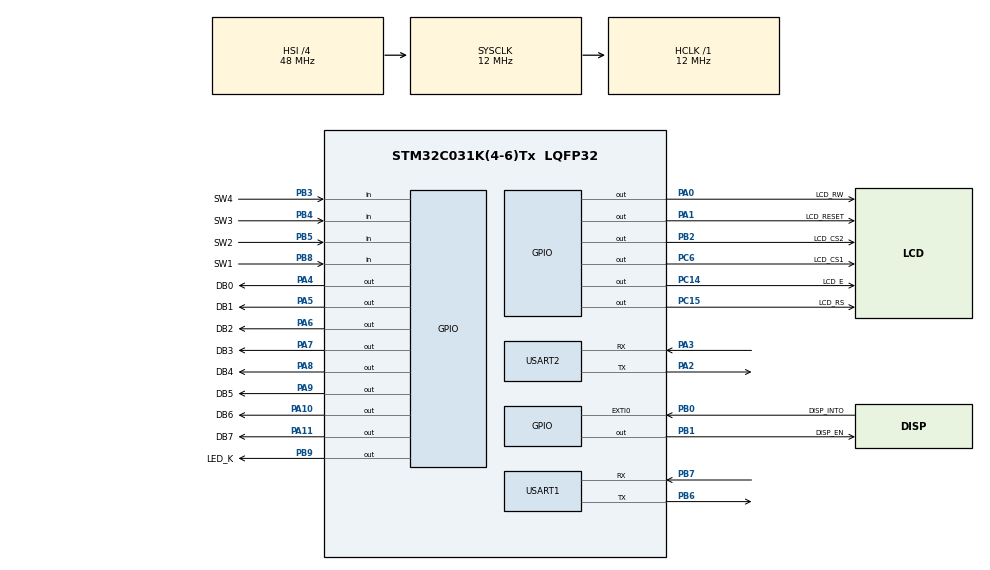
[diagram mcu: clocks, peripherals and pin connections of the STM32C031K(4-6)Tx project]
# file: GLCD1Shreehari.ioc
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Mcu.Family=STM32C0
Mcu.Name=STM32C031K(4-6)Tx
Mcu.Package=LQFP32
NVIC.USART1_IRQn=true\:0\:0\:false\:false\:true\:true\:true\:true
NVIC.USART2_IRQn=true\:0\:0\:false\:false\:true\:true\:true\:true
PA0.GPIO_Label=LCD_RW
PA0.Signal=GPIO_Output
PA1.GPIO_Label=LCD_RESET
PA1.Signal=GPIO_Output
PA10.GPIO_Label=DB6
PA10.Signal=GPIO_Output
PA11\ [PA9].GPIO_Label=DB7
PA11\ [PA9].Signal=GPIO_Output
PA13.Mode=Serial_Wire
PA13.Signal=DEBUG_SWDIO
PA14-BOOT0.Mode=Serial_Wire
PA14-BOOT0.Signal=DEBUG_SWCLK
PA2.Mode=Asynchronous
PA2.Signal=USART2_TX
PA3.Mode=Asynchronous
PA3.Signal=USART2_RX
PA4.GPIO_Label=DB0
PA4.Signal=GPIO_Output
PA5.GPIO_Label=DB1
PA5.Signal=GPIO_Output
PA6.GPIO_Label=DB2
PA6.Signal=GPIO_Output
PA7.GPIO_Label=DB3
PA7.Signal=GPIO_Output
PA8.GPIO_Label=DB4
PA8.Signal=GPIO_Output
PA9.GPIO_Label=DB5
PA9.Signal=GPIO_Output
PB0.GPIO_Label=DISP_INTO
PB0.Signal=GPXTI0
PB1.GPIO_Label=DISP_EN
PB1.Signal=GPIO_Output
PB2.GPIO_Label=LCD_CS2
PB2.Signal=GPIO_Output
PB3.GPIO_Label=SW4
PB3.Signal=GPIO_Input
PB4.GPIO_Label=SW3
PB4.Signal=GPIO_Input
PB5.GPIO_Label=SW2
PB5.Signal=GPIO_Input
PB6.Mode=Asynchronous
PB6.Signal=USART1_TX
PB7.Mode=Asynchronous
PB7.Signal=USART1_RX
PB8.GPIO_Label=SW1
PB8.Signal=GPIO_Input
PB9.GPIO_Label=LED_K
PB9.Signal=GPIO_Output
PC14-OSCX_IN\ (PC14).GPIO_Label=LCD_E
PC14-OSCX_IN\ (PC14).Signal=GPIO_Output
PC15-OSCX_OUT\ (PC15).GPIO_Label=LCD_RS
PC15-OSCX_OUT\ (PC15).Signal=GPIO_Output
PC6.GPIO_Label=LCD_CS1
PC6.Signal=GPIO_Output
ProjectManager.HeapSize=0x200
ProjectManager.StackSize=0x400
ProjectManager.TargetToolchain=STM32CubeIDE
RCC.ADCFreq_Value=12000000
RCC.AHBFreq_Value=12000000
RCC.CortexFreq_Value=12000000
RCC.EXTERNAL_CLOCK_VALUE=12288000
RCC.HCLKFreq_Value=12000000
RCC.HSE_VALUE=8000000
RCC.HSI_VALUE=48000000
RCC.LSE_VALUE=32768
RCC.SYSCLKFreq_VALUE=12000000
USART1.VirtualMode-Asynchronous=VM_ASYNC
USART2.VirtualMode-Asynchronous=VM_ASYNC
board=custom

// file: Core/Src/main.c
/* USER CODE BEGIN Header */
/**
  ******************************************************************************
  * @file           : main.c
  * @brief          : Main program body
  ******************************************************************************
  * @attention
  *
  * Copyright (c) 2024 STMicroelectronics.
  * All rights reserved.
  *
  * This software is licensed under terms that can be found in the LICENSE file
  * in the root directory of this software component.
  * If no LICENSE file comes with this software, it is provided AS-IS.
  *
  ******************************************************************************
  */
/* USER CODE END Header */
#include "main.h"
#include <MATH.H>

UART_HandleTypeDef huart1;
UART_HandleTypeDef huart2;
unsigned char Page;
unsigned char Col;
//unsigned char code font[];
//unsigned char code Character[];

void SystemClock_Config(void);
static void MX_GPIO_Init(void);
static void MX_USART1_UART_Init(void);
static void MX_USART2_UART_Init(void);

/* USER CODE BEGIN 0 */

const uint16_t font[] = {
0x0000, 0x0000, 0x0000, 0x0000, 0x0000, 0x0000, 0x0000, 0x0000, 0x0000, 0x0000,  // sp
0x1000, 0x1000, 0x1000, 0x1000, 0x1000, 0x1000, 0x0000, 0x1000, 0x0000, 0x0000,  // !
0x2800, 0x2800, 0x2800, 0x0000, 0x0000, 0x0000, 0x0000, 0x0000, 0x0000, 0x0000,  // "
0x2400, 0x2400, 0x7C00, 0x2400, 0x4800, 0x7C00, 0x4800, 0x4800, 0x0000, 0x0000,  // #
0x3800, 0x5400, 0x5000, 0x3800, 0x1400, 0x5400, 0x5400, 0x3800, 0x1000, 0x0000,  // $
0x2000, 0x5400, 0x5800, 0x3000, 0x2800, 0x5400, 0x1400, 0x0800, 0x0000, 0x0000,  // %
0x1000, 0x2800, 0x2800, 0x1000, 0x3400, 0x4800, 0x4800, 0x3400, 0x0000, 0x0000,  // &
0x1000, 0x1000, 0x1000, 0x0000, 0x0000, 0x0000, 0x0000, 0x0000, 0x0000, 0x0000,  // '
0x0800, 0x1000, 0x2000, 0x2000, 0x2000, 0x2000, 0x2000, 0x2000, 0x1000, 0x0800,  // (
0x2000, 0x1000, 0x0800, 0x0800, 0x0800, 0x0800, 0x0800, 0x0800, 0x1000, 0x2000,  // )
0x1000, 0x3800, 0x1000, 0x2800, 0x0000, 0x0000, 0x0000, 0x0000, 0x0000, 0x0000,  // *
0x0000, 0x0000, 0x1000, 0x1000, 0x7C00, 0x1000, 0x1000, 0x0000, 0x0000, 0x0000,  // +
0x0000, 0x0000, 0x0000, 0x0000, 0x0000, 0x0000, 0x0000, 0x1000, 0x1000, 0x1000,  // ,
0x0000, 0x0000, 0x0000, 0x0000, 0x0000, 0x3800, 0x0000, 0x0000, 0x0000, 0x0000,  // -
0x0000, 0x0000, 0x0000, 0x0000, 0x0000, 0x0000, 0x0000, 0x1000, 0x0000, 0x0000,  // .
0x0800, 0x0800, 0x1000, 0x1000, 0x1000, 0x1000, 0x2000, 0x2000, 0x0000, 0x0000,  // /
0x3800, 0x4400, 0x4400, 0x5400, 0x4400, 0x4400, 0x4400, 0x3800, 0x0000, 0x0000,  // 0
0x1000, 0x3000, 0x5000, 0x1000, 0x1000, 0x1000, 0x1000, 0x1000, 0x0000, 0x0000,  // 1
0x3800, 0x4400, 0x4400, 0x0400, 0x0800, 0x1000, 0x2000, 0x7C00, 0x0000, 0x0000,  // 2
0x3800, 0x4400, 0x0400, 0x1800, 0x0400, 0x0400, 0x4400, 0x3800, 0x0000, 0x0000,  // 3
0x0800, 0x1800, 0x2800, 0x2800, 0x4800, 0x7C00, 0x0800, 0x0800, 0x0000, 0x0000,  // 4
0x7C00, 0x4000, 0x4000, 0x7800, 0x0400, 0x0400, 0x4400, 0x3800, 0x0000, 0x0000,  // 5
0x3800, 0x4400, 0x4000, 0x7800, 0x4400, 0x4400, 0x4400, 0x3800, 0x0000, 0x0000,  // 6
0x7C00, 0x0400, 0x0800, 0x1000, 0x1000, 0x2000, 0x2000, 0x2000, 0x0000, 0x0000,  // 7
0x3800, 0x4400, 0x4400, 0x3800, 0x4400, 0x4400, 0x4400, 0x3800, 0x0000, 0x0000,  // 8
0x3800, 0x4400, 0x4400, 0x4400, 0x3C00, 0x0400, 0x4400, 0x3800, 0x0000, 0x0000,  // 9
0x0000, 0x0000, 0x1000, 0x0000, 0x0000, 0x0000, 0x0000, 0x1000, 0x0000, 0x0000,  // :
0x0000, 0x0000, 0x0000, 0x1000, 0x0000, 0x0000, 0x0000, 0x1000, 0x1000, 0x1000,  // ;
0x0000, 0x0000, 0x0C00, 0x3000, 0x4000, 0x3000, 0x0C00, 0x0000, 0x0000, 0x0000,  // <
0x0000, 0x0000, 0x0000, 0x7C00, 0x0000, 0x7C00, 0x0000, 0x0000, 0x0000, 0x0000,  // =
0x0000, 0x0000, 0x6000, 0x1800, 0x0400, 0x1800, 0x6000, 0x0000, 0x0000, 0x0000,  // >
0x3800, 0x4400, 0x0400, 0x0800, 0x1000, 0x1000, 0x0000, 0x1000, 0x0000, 0x0000,  // ?
0x3800, 0x4400, 0x4C00, 0x5400, 0x5C00, 0x4000, 0x4000, 0x3800, 0x0000, 0x0000,  // @
0x1000, 0x2800, 0x2800, 0x2800, 0x2800, 0x7C00, 0x4400, 0x4400, 0x0000, 0x0000,  // A
0x7800, 0x4400, 0x4400, 0x7800, 0x4400, 0x4400, 0x4400, 0x7800, 0x0000, 0x0000,  // B
0x3800, 0x4400, 0x4000, 0x4000, 0x4000, 0x4000, 0x4400, 0x3800, 0x0000, 0x0000,  // C
0x7000, 0x4800, 0x4400, 0x4400, 0x4400, 0x4400, 0x4800, 0x7000, 0x0000, 0x0000,  // D
0x7C00, 0x4000, 0x4000, 0x7C00, 0x4000, 0x4000, 0x4000, 0x7C00, 0x0000, 0x0000,  // E
0x7C00, 0x4000, 0x4000, 0x7800, 0x4000, 0x4000, 0x4000, 0x4000, 0x0000, 0x0000,  // F
0x3800, 0x4400, 0x4000, 0x4000, 0x5C00, 0x4400, 0x4400, 0x3800, 0x0000, 0x0000,  // G
0x4400, 0x4400, 0x4400, 0x7C00, 0x4400, 0x4400, 0x4400, 0x4400, 0x0000, 0x0000,  // H
0x3800, 0x1000, 0x1000, 0x1000, 0x1000, 0x1000, 0x1000, 0x3800, 0x0000, 0x0000,  // I
0x0400, 0x0400, 0x0400, 0x0400, 0x0400, 0x0400, 0x4400, 0x3800, 0x0000, 0x0000,  // J
0x4400, 0x4800, 0x5000, 0x6000, 0x5000, 0x4800, 0x4800, 0x4400, 0x0000, 0x0000,  // K
0x4000, 0x4000, 0x4000, 0x4000, 0x4000, 0x4000, 0x4000, 0x7C00, 0x0000, 0x0000,  // L
0x4400, 0x6C00, 0x6C00, 0x5400, 0x4400, 0x4400, 0x4400, 0x4400, 0x0000, 0x0000,  // M
0x4400, 0x6400, 0x6400, 0x5400, 0x5400, 0x4C00, 0x4C00, 0x4400, 0x0000, 0x0000,  // N
0x3800, 0x4400, 0x4400, 0x4400, 0x4400, 0x4400, 0x4400, 0x3800, 0x0000, 0x0000,  // O
0x7800, 0x4400, 0x4400, 0x4400, 0x7800, 0x4000, 0x4000, 0x4000, 0x0000, 0x0000,  // P
0x3800, 0x4400, 0x4400, 0x4400, 0x4400, 0x4400, 0x5400, 0x3800, 0x0400, 0x0000,  // Q
0x7800, 0x4400, 0x4400, 0x4400, 0x7800, 0x4800, 0x4800, 0x4400, 0x0000, 0x0000,  // R
0x3800, 0x4400, 0x4000, 0x3000, 0x0800, 0x0400, 0x4400, 0x3800, 0x0000, 0x0000,  // S
0x7C00, 0x1000, 0x1000, 0x1000, 0x1000, 0x1000, 0x1000, 0x1000, 0x0000, 0x0000,  // T
0x4400, 0x4400, 0x4400, 0x4400, 0x4400, 0x4400, 0x4400, 0x3800, 0x0000, 0x0000,  // U
0x4400, 0x4400, 0x4400, 0x2800, 0x2800, 0x2800, 0x1000, 0x1000, 0x0000, 0x0000,  // V
0x4400, 0x4400, 0x5400, 0x5400, 0x5400, 0x6C00, 0x2800, 0x2800, 0x0000, 0x0000,  // W
0x4400, 0x2800, 0x2800, 0x1000, 0x1000, 0x2800, 0x2800, 0x4400, 0x0000, 0x0000,  // X
0x4400, 0x4400, 0x2800, 0x2800, 0x1000, 0x1000, 0x1000, 0x1000, 0x0000, 0x0000,  // Y
0x7C00, 0x0400, 0x0800, 0x1000, 0x1000, 0x2000, 0x4000, 0x7C00, 0x0000, 0x0000,  // Z
0x1800, 0x1000, 0x1000, 0x1000, 0x1000, 0x1000, 0x1000, 0x1000, 0x1000, 0x1800,  // [
0x2000, 0x2000, 0x1000, 0x1000, 0x1000, 0x1000, 0x0800, 0x0800, 0x0000, 0x0000,  /* \ */
0x3000, 0x1000, 0x1000, 0x1000, 0x1000, 0x1000, 0x1000, 0x1000, 0x1000, 0x3000,  // ]
0x1000, 0x2800, 0x2800, 0x4400, 0x0000, 0x0000, 0x0000, 0x0000, 0x0000, 0x0000,  // ^
0x0000, 0x0000, 0x0000, 0x0000, 0x0000, 0x0000, 0x0000, 0x0000, 0x0000, 0xFE00,  // _
0x2000, 0x1000, 0x0000, 0x0000, 0x0000, 0x0000, 0x0000, 0x0000, 0x0000, 0x0000,  // `
0x0000, 0x0000, 0x3800, 0x4400, 0x3C00, 0x4400, 0x4C00, 0x3400, 0x0000, 0x0000,  // a
0x4000, 0x4000, 0x5800, 0x6400, 0x4400, 0x4400, 0x6400, 0x5800, 0x0000, 0x0000,  // b
0x0000, 0x0000, 0x3800, 0x4400, 0x4000, 0x4000, 0x4400, 0x3800, 0x0000, 0x0000,  // c
0x0400, 0x0400, 0x3400, 0x4C00, 0x4400, 0x4400, 0x4C00, 0x3400, 0x0000, 0x0000,  // d
0x0000, 0x0000, 0x3800, 0x4400, 0x7C00, 0x4000, 0x4400, 0x3800, 0x0000, 0x0000,  // e
0x0C00, 0x1000, 0x7C00, 0x1000, 0x1000, 0x1000, 0x1000, 0x1000, 0x0000, 0x0000,  // f
0x0000, 0x0000, 0x3400, 0x4C00, 0x4400, 0x4400, 0x4C00, 0x3400, 0x0400, 0x7800,  // g
0x4000, 0x4000, 0x5800, 0x6400, 0x4400, 0x4400, 0x4400, 0x4400, 0x0000, 0x0000,  // h
0x1000, 0x0000, 0x7000, 0x1000, 0x1000, 0x1000, 0x1000, 0x1000, 0x0000, 0x0000,  // i
0x1000, 0x0000, 0x7000, 0x1000, 0x1000, 0x1000, 0x1000, 0x1000, 0x1000, 0xE000,  // j
0x4000, 0x4000, 0x4800, 0x5000, 0x6000, 0x5000, 0x4800, 0x4400, 0x0000, 0x0000,  // k
0x7000, 0x1000, 0x1000, 0x1000, 0x1000, 0x1000, 0x1000, 0x1000, 0x0000, 0x0000,  // l
0x0000, 0x0000, 0x7800, 0x5400, 0x5400, 0x5400, 0x5400, 0x5400, 0x0000, 0x0000,  // m
0x0000, 0x0000, 0x5800, 0x6400, 0x4400, 0x4400, 0x4400, 0x4400, 0x0000, 0x0000,  // n
0x0000, 0x0000, 0x3800, 0x4400, 0x4400, 0x4400, 0x4400, 0x3800, 0x0000, 0x0000,  // o
0x0000, 0x0000, 0x5800, 0x6400, 0x4400, 0x4400, 0x6400, 0x5800, 0x4000, 0x4000,  // p
0x0000, 0x0000, 0x3400, 0x4C00, 0x4400, 0x4400, 0x4C00, 0x3400, 0x0400, 0x0400,  // q
0x0000, 0x0000, 0x5800, 0x6400, 0x4000, 0x4000, 0x4000, 0x4000, 0x0000, 0x0000,  // r
0x0000, 0x0000, 0x3800, 0x4400, 0x3000, 0x0800, 0x4400, 0x3800, 0x0000, 0x0000,  // s
0x2000, 0x2000, 0x7800, 0x2000, 0x2000, 0x2000, 0x2000, 0x1800, 0x0000, 0x0000,  // t
0x0000, 0x0000, 0x4400, 0x4400, 0x4400, 0x4400, 0x4C00, 0x3400, 0x0000, 0x0000,  // u
0x0000, 0x0000, 0x4400, 0x4400, 0x2800, 0x2800, 0x2800, 0x1000, 0x0000, 0x0000,  // v
0x0000, 0x0000, 0x5400, 0x5400, 0x5400, 0x6C00, 0x2800, 0x2800, 0x0000, 0x0000,  // w
0x0000, 0x0000, 0x4400, 0x2800, 0x1000, 0x1000, 0x2800, 0x4400, 0x0000, 0x0000,  // x
0x0000, 0x0000, 0x4400, 0x4400, 0x2800, 0x2800, 0x1000, 0x1000, 0x1000, 0x6000,  // y
0x0000, 0x0000, 0x7C00, 0x0800, 0x1000, 0x2000, 0x4000, 0x7C00, 0x0000, 0x0000,  // z
0x1800, 0x1000, 0x1000, 0x1000, 0x2000, 0x2000, 0x1000, 0x1000, 0x1000, 0x1800,  // {
0x1000, 0x1000, 0x1000, 0x1000, 0x1000, 0x1000, 0x1000, 0x1000, 0x1000, 0x1000,  // |
0x3000, 0x1000, 0x1000, 0x1000, 0x0800, 0x0800, 0x1000, 0x1000, 0x1000, 0x3000,  // }
0x0000, 0x0000, 0x0000, 0x7400, 0x4C00, 0x0000, 0x0000, 0x0000, 0x0000, 0x0000,  // ~
};

uint8_t ReadDataFromPins(void)
	  {
	      uint8_t RDFP_temp = 0;
	        // Set each pin high individually

	      	HAL_GPIO_WritePin(GPIOA, DB0_Pin, GPIO_PIN_SET);
	        HAL_GPIO_WritePin(GPIOA, DB1_Pin, GPIO_PIN_SET);
	        HAL_GPIO_WritePin(GPIOA, DB2_Pin, GPIO_PIN_SET);
	        HAL_GPIO_WritePin(GPIOA, DB3_Pin, GPIO_PIN_SET);
	        HAL_GPIO_WritePin(GPIOA, DB4_Pin, GPIO_PIN_SET);
	        HAL_GPIO_WritePin(GPIOA, DB5_Pin, GPIO_PIN_SET);
	        HAL_GPIO_WritePin(GPIOA, DB6_Pin, GPIO_PIN_SET);
	        HAL_GPIO_WritePin(GPIOA, DB7_Pin, GPIO_PIN_SET);

	      // Read each pin and combine the result
	      RDFP_temp |= (HAL_GPIO_ReadPin(GPIOA, DB0_Pin) == GPIO_PIN_SET) ? (1 << 0) : 0;
	      RDFP_temp |= (HAL_GPIO_ReadPin(GPIOA, DB1_Pin) == GPIO_PIN_SET) ? (1 << 1) : 0;
	      RDFP_temp |= (HAL_GPIO_ReadPin(GPIOA, DB2_Pin) == GPIO_PIN_SET) ? (1 << 2) : 0;
	      RDFP_temp |= (HAL_GPIO_ReadPin(GPIOA, DB3_Pin) == GPIO_PIN_SET) ? (1 << 3) : 0;
	      RDFP_temp |= (HAL_GPIO_ReadPin(GPIOA, DB4_Pin) == GPIO_PIN_SET) ? (1 << 4) : 0;
	      RDFP_temp |= (HAL_GPIO_ReadPin(GPIOA, DB5_Pin) == GPIO_PIN_SET) ? (1 << 5) : 0;
	      RDFP_temp |= (HAL_GPIO_ReadPin(GPIOA, DB6_Pin) == GPIO_PIN_SET) ? (1 << 6) : 0;
	      RDFP_temp |= (HAL_GPIO_ReadPin(GPIOA, DB7_Pin) == GPIO_PIN_SET) ? (1 << 7) : 0;

	      return RDFP_temp;
	  }

////////////////////////////////////////////////////////////////////////////////////////////
void Printdata(unsigned char data)
{

	if((data&0x01)==0x01)
	{
		HAL_GPIO_WritePin(GPIOA, DB0_Pin, GPIO_PIN_SET);
	}
	else{
		HAL_GPIO_WritePin(GPIOA, DB0_Pin, GPIO_PIN_RESET);
	}

	if((data&0x02)==0x02)
	{
		HAL_GPIO_WritePin(GPIOA, DB1_Pin, GPIO_PIN_SET);
	}
	else{
		HAL_GPIO_WritePin(GPIOA, DB1_Pin, GPIO_PIN_RESET);
	}

	if((data&0x04)==0x04)
	{
		HAL_GPIO_WritePin(GPIOA, DB2_Pin, GPIO_PIN_SET);
	}
	else{HAL_GPIO_WritePin(GPIOA, DB2_Pin, GPIO_PIN_RESET);}

	if((data&0x08)==0x08)
	{
		HAL_GPIO_WritePin(GPIOA, DB3_Pin, GPIO_PIN_SET);
	}
	else{HAL_GPIO_WritePin(GPIOA, DB3_Pin, GPIO_PIN_RESET);}

	if((data&0x10)==0x10)
	{
		HAL_GPIO_WritePin(GPIOA, DB4_Pin, GPIO_PIN_SET);
	}
	else{HAL_GPIO_WritePin(GPIOA, DB4_Pin, GPIO_PIN_RESET);}

	if((data&0x20)==0x20)
	{
		HAL_GPIO_WritePin(GPIOA, DB5_Pin, GPIO_PIN_SET);
	}
	else{HAL_GPIO_WritePin(GPIOA, DB5_Pin, GPIO_PIN_RESET);}

	if((data&0x40)==0x40)
	{
		HAL_GPIO_WritePin(GPIOA, DB6_Pin, GPIO_PIN_SET);
	}
	else{HAL_GPIO_WritePin(GPIOA, DB6_Pin, GPIO_PIN_RESET);}

	if((data&0x80)==0x80)
	{
		HAL_GPIO_WritePin(GPIOA, DB7_Pin, GPIO_PIN_SET);
	}
	else{HAL_GPIO_WritePin(GPIOA, DB7_Pin, GPIO_PIN_RESET);}

}
//////////////////////////////////////////////////////////////////////////////////////////////////
void BusyL(void)
{
	//unsigned char flag=0xff;
unsigned char flag = ReadDataFromPins();
// CS1= 1;       //active "H"
 HAL_GPIO_WritePin(GPIOC, LCD_CS1_Pin, GPIO_PIN_SET);

 //CS2= 0;
 HAL_GPIO_WritePin(GPIOB, LCD_CS2_Pin, GPIO_PIN_RESET);
 //RS = 0;
 HAL_GPIO_WritePin(GPIOC, LCD_RS_Pin, GPIO_PIN_RESET);
// RW = 1;
 HAL_GPIO_WritePin(GPIOA, LCD_RW_Pin, GPIO_PIN_SET);//RW
 //P1 = 0xFF;
 //Printdata(0xff);
 ReadDataFromPins();

while ((flag&0x80)==0x80)
 {
// E=1;
	HAL_GPIO_WritePin(GPIOC,LCD_E_Pin , GPIO_PIN_SET);
 //_nop_();
	HAL_Delay(10);
// flag=P1;
	flag= ReadDataFromPins();
 //E=0;
 HAL_GPIO_WritePin(GPIOC, LCD_E_Pin, GPIO_PIN_RESET);
 }
}
////////////////////////////////////////////////////////////////////////////////////////////////////////
void BusyR(void)
{
	//unsigned char flag=0xff;
	unsigned char flag = ReadDataFromPins();
// CS1= 0;
 HAL_GPIO_WritePin(GPIOC, LCD_CS1_Pin, GPIO_PIN_RESET);
// CS2= 1;        //active "H"
 HAL_GPIO_WritePin(GPIOB, LCD_CS2_Pin, GPIO_PIN_SET);
 //RS = 0;
 HAL_GPIO_WritePin(GPIOC, LCD_RS_Pin, GPIO_PIN_RESET);
 //RW = 1;
 HAL_GPIO_WritePin(GPIOA, LCD_RW_Pin, GPIO_PIN_SET);//RW
 //P1 = 0xFF;
 ReadDataFromPins();
while ((flag&0x80)==0x80)
 {
// E=1;
HAL_GPIO_WritePin(GPIOC,LCD_E_Pin , GPIO_PIN_SET);
 //_nop_();
HAL_Delay(10);
// flag=P1;
flag= ReadDataFromPins();
// E=0;
	 HAL_GPIO_WritePin(GPIOC, LCD_E_Pin, GPIO_PIN_RESET);
 }
}
/////////////////////////////////////////////////////////////////////////////////////////////////
void Locatexy(void)
{
 unsigned char x,y,Z;
// switch (Col&0xc0) /*  col.and.0xC0 */
// {
//  case 0: {BusyL();break;}
//  case 0x40: {BusyR();break;}
// }
 x = 0XB8;//((Col&0x3F)|0x40); /* col.and.0x3f.or.Set X Address*/
// y =0X40; //((Page&0x07)|0xB8); /* row.and.0x07.or.set Page */
 //Z=0XC0;
//
// RS = 0;
 HAL_GPIO_WritePin(GPIOC, LCD_RS_Pin, GPIO_PIN_RESET);
// RW = 0;
 HAL_GPIO_WritePin(GPIOA, LCD_RW_Pin, GPIO_PIN_RESET);
// P1 = y;
 Printdata(x);
// E  = 1;
 HAL_GPIO_WritePin(GPIOC,LCD_E_Pin , GPIO_PIN_SET);
 //_nop_();
 HAL_Delay(100);
 //E  = 0;
for (unsigned char col1 = 0X40; col1 < 0X7F; col1++) {
         y = 0x40 + col1;} // Set column address from 0x40 to 0x7F

 HAL_GPIO_WritePin(GPIOC, LCD_E_Pin, GPIO_PIN_RESET);
 //_nop_();
 HAL_Delay(100);
// RS = 0;
 HAL_GPIO_WritePin(GPIOC, LCD_RS_Pin, GPIO_PIN_RESET);
// RW = 0;
 HAL_GPIO_WritePin(GPIOA, LCD_RW_Pin, GPIO_PIN_RESET);
// P1 = x;
 Printdata(y);
 //E  = 1;
 HAL_GPIO_WritePin(GPIOC,LCD_E_Pin , GPIO_PIN_SET);
// _nop_();
	HAL_Delay(100);
// E  = 0;
	 HAL_GPIO_WritePin(GPIOC, LCD_E_Pin, GPIO_PIN_RESET);
 //_nop_();
	 HAL_Delay(10);

	 for (unsigned char line1 = 0XC0; line1< 8; line1++) {
	             Z = 0xC0 + line1; }// Increment line address from 0xC0 to 0xC7

	 HAL_GPIO_WritePin(GPIOC, LCD_RS_Pin, GPIO_PIN_RESET);
	 // RW = 0;
	  HAL_GPIO_WritePin(GPIOA, LCD_RW_Pin, GPIO_PIN_RESET);
	 // P1 = y;
	  Printdata(Z);
	 // E  = 1;
	  HAL_GPIO_WritePin(GPIOC,LCD_E_Pin , GPIO_PIN_SET);
	  //_nop_();
	  HAL_Delay(100);
	  //E  = 0;
	  HAL_GPIO_WritePin(GPIOC, LCD_E_Pin, GPIO_PIN_RESET);
	  //_nop_();
	  HAL_Delay(100);

}
////////////////////////////////////////////////////////////////////
void WriteCommandL( unsigned char CommandByte )
{
 BusyL();
// P1 = CommandByte;
 Printdata(CommandByte );
// RS = 0;
 HAL_GPIO_WritePin(GPIOC, LCD_RS_Pin, GPIO_PIN_RESET);
// RW = 0;
 HAL_GPIO_WritePin(GPIOA, LCD_RW_Pin, GPIO_PIN_RESET);
// E  = 1;
 HAL_GPIO_WritePin(GPIOC,LCD_E_Pin , GPIO_PIN_SET);
// _nop_();
 HAL_Delay(1000);
// E  = 0;
 HAL_GPIO_WritePin(GPIOC, LCD_E_Pin, GPIO_PIN_RESET);
// _nop_();
 HAL_Delay(1000);

}
//////////////////////////////////////////////////////////////////
void WriteCommandR( unsigned char CommandByte )
{
 BusyR();
// P1 = CommandByte;
 Printdata(CommandByte );
// RS = 0;
// RW = 0;
// E  = 1;
// _nop_();
// E  = 0;
// _nop_();
 // RS = 0;
  HAL_GPIO_WritePin(GPIOC, LCD_RS_Pin, GPIO_PIN_RESET);
 // RW = 0;
  HAL_GPIO_WritePin(GPIOA, LCD_RW_Pin, GPIO_PIN_RESET);
 // E  = 1;
  HAL_GPIO_WritePin(GPIOC,LCD_E_Pin , GPIO_PIN_SET);
 // _nop_();
  HAL_Delay(1000);
 // E  = 0;
  HAL_GPIO_WritePin(GPIOC, LCD_E_Pin, GPIO_PIN_RESET);
 // _nop_();
  HAL_Delay(1000);
}
///////////////////////////////////////////////////////////////////
//unsigned char ReadData( void )
//{
// unsigned char DataByte;
// Locatexy();
// //RS = 1;
// HAL_GPIO_WritePin(GPIOC, LCD_RS_Pin, GPIO_PIN_SET);
//// RW = 1;
// HAL_GPIO_WritePin(GPIOA, LCD_RW_Pin, GPIO_PIN_SET);
//// P1 = 0xFF;
// ReadDataFromPins();
// // _nop_();
// HAL_Delay(10);
// //E  = 1;
// HAL_GPIO_WritePin(GPIOA, LCD_RS_Pin, GPIO_PIN_SET);
// //_nop_();
// HAL_Delay(10);
// //DataByte = P1;
// DataByte =ReadDataFromPins();
//// E  = 0;
// HAL_GPIO_WritePin(GPIOA, LCD_RS_Pin, GPIO_PIN_RESET);
//// _nop_();
//// CS1=0;
// HAL_GPIO_WritePin(GPIOC, LCD_CS1_Pin, GPIO_PIN_RESET);
//
// //CS2= 0;
// HAL_GPIO_WritePin(GPIOB, LCD_CS2_Pin, GPIO_PIN_RESET);
//// CS2=0;
// return DataByte;
//}
///////////////////////////////////////////////////////////////////////////////////////
void WriteData( unsigned char DataByte )
{
	HAL_GPIO_WritePin(GPIOC, LCD_CS1_Pin, GPIO_PIN_SET);
	HAL_GPIO_WritePin(GPIOB, LCD_CS2_Pin, GPIO_PIN_RESET);

 Locatexy();
// RS = 1;
 HAL_GPIO_WritePin(GPIOC, LCD_RS_Pin, GPIO_PIN_SET);
// RW = 0;
 HAL_GPIO_WritePin(GPIOA, LCD_RW_Pin, GPIO_PIN_RESET);
// P1 = DataByte;
 ReadDataFromPins();
// E  = 1;
 HAL_GPIO_WritePin(GPIOA, LCD_E_Pin, GPIO_PIN_SET);
// _nop_();
 HAL_Delay(1000);
 //E  = 0;
 HAL_GPIO_WritePin(GPIOA, LCD_E_Pin, GPIO_PIN_RESET);

 //_nop_();
 HAL_Delay(1000);
// CS1=0;
// CS2=0;
// HAL_GPIO_WritePin(GPIOC, LCD_CS1_Pin, GPIO_PIN_SET);

  //CS2= 0;
//  HAL_GPIO_WritePin(GPIOB, LCD_CS2_Pin, GPIO_PIN_RESET);
 // CS2=0;
}
//////////////////////////////////////////////////////////////////////////////
void LcmClear( void )
{
 Page = 0xB8;
 Col  = 0X40;
 for(Page=0XB8;Page<0XB8;Page++)
  for(Col=0X40;Col<0X3F;Col++)
   WriteData(0);
}

void LcmInit( void )
{
	 WriteCommandL(0x3e); //DISPALY off
	 WriteCommandR(0x3e);
 WriteCommandL(0x3f); //DISPALY ON
 WriteCommandR(0x3f);

 WriteCommandL(0xc0); //SET START ADDRESS
 WriteCommandR(0xc0);

 WriteCommandL(0x3f); //DISPLAY ON
 WriteCommandR(0x3f);

}
void LcmPutDots( unsigned char DotByte,unsigned char DotByte1 )
{
 Page = 0xB8;
 Col  = 0x40;
 for(Page=0XB8;Page<0XBF;Page++)
 {
  for(Col=0X40;Col<0X3F;Col++)
  {
   WriteData( DotByte );
   Col++;
   WriteData( DotByte1 );
  }

 }
}

//void LcmPutBMP( unsigned char *puts )
//{
// unsigned int X=0;
// Page = 0;
// Col  = 0;
// for(Page=0;Page<8;Page++)
// {
//  for(Col=0;Col<128;Col++)
//  {
//   WriteData( puts[X] );
//   X++;
//  }
// }
//}
//
//void LcmReverseBMPP( unsigned char *puts )
//{
// unsigned int X=0;
// Page = 0;
// Col  = 0;
// for(Page=0;Page<8;Page++)
// {
//  for(Col=0;Col<128;Col++)
//  {
//   WriteData(~puts[X] );
//   X++;
//  }
// }
//}
//
//void Display_8_8(unsigned char C[],unsigned char i)
//{ unsigned char k,num=0;
// num=i*0x08;
// for(k=0;k<0x08;k++)
// {
//  WriteData(C[num+k]);
//  Col+=0x01;
// }
//
//}
////////////////////////////////////////////////////////////////////////////
//void Display_16_16(unsigned char F[],unsigned char i)
//{
// unsigned char k=0;
// unsigned int	num=0;
// num=i*0x20;
//
// for(k=0;k<0x10;k++)
// {
//  WriteData(F[num+k]);
//  Col+=0x01;
// }
//  Col-=0x10;
//  Page+=0x01;
//  for(k=16;k<0x20;k++)
// {
//  WriteData(F[num+k]);
//  Col+=0x01;
// }
//  Page-=0x01;
//  HAL_Delay(10);
//}

//void Display_character()
//{ unsigned char k,c, a=0;
//char font;///// please check
//char character;/// please check
// Col  = 0;
// for(c=0;c<8;c++)
// { Page = c;
//	for(k=0;k<16;k++)
// 	{ Display_8_8(character,0);
// 	}
// Col  = 0;
// }
// HAL_Delay(10);
//
// for(c=0;c<8;c++)
// { Page = c;
//	for(k=0;k<16;k++)
// 	{ Display_8_8(character,1);
// 	}
// Col  = 0;
// }
// HAL_Delay(10);
//
// for(c=0;c<8;c++)
// { Page = c;
//	for(k=0;k<16;k++)
// 	{ Display_8_8(character,2);
// 	}
// Col  = 0;
// }
// HAL_Delay(10);
//
//
//}

//void Display_Chinese()
//{unsigned char a=0;
// Page = 0;
// Col  = 0;
////char font;
// for(a=0;a<8;a++)
// {
// Display_16_16(font,a);
// }
// Page = 2;
// Col  = 0;
// for(a=8;a<16;a++)
// {
// Display_16_16(font,a);
// }
//
// Page = 4;
// Col  = 0;
// for(a=16;a<24;a++)
// {
// Display_16_16(font,a);
// }
//
// Page = 6;
// Col  = 0;
// for(a=24;a<32;a++)
// {
// Display_16_16(font,a);
// }
//
//}

/* USER CODE END 0 */

int main(void)
{

  /* MCU Configuration--------------------------------------------------------*/

  /* Reset of all peripherals, Initializes the Flash interface and the Systick. */
  HAL_Init();

  /* USER CODE BEGIN Init */
 //HAL_GPIO_WritePin(GPIOA, LED_K_Pin, GPIO_PIN_SET);
 // HAL_GPIO_WritePin(GPIOA, LCD_RESET_Pin, GPIO_PIN_SET);
  /* USER CODE END Init */

  /* Configure the system clock */
  SystemClock_Config();

  /* Initialize all configured peripherals */
  MX_GPIO_Init();
  MX_USART1_UART_Init();
  MX_USART2_UART_Init();
  /* USER CODE BEGIN 2 */
  HAL_GPIO_WritePin(GPIOA, LED_K_Pin, GPIO_PIN_SET);
  HAL_GPIO_WritePin(GPIOA, LCD_RESET_Pin, GPIO_PIN_SET);
  LcmInit();
  /* USER CODE END 2 */

  /* Infinite loop */
  while (1)
  {

    /* USER CODE BEGIN 3 */
	 // HAL_GPIO_WritePin(GPIOA, LED_K_Pin, GPIO_PIN_SET);
	  LcmPutDots(0x55,0xaa);
	 //  Delay(600);
	  HAL_Delay(100);
	    LcmPutDots(0xaa,0x55);
	   // Delay(600);
	    HAL_Delay(100);
	   LcmPutDots(0x55,0x55);
	 //  Delay(600);
	   HAL_Delay(100);
	    LcmPutDots(0xaa,0xaa);
	  //  Delay(600);
	    HAL_Delay(100);

	    LcmPutDots(0xff,0x00);
	   // Delay(600);
	    HAL_Delay(100);
	    LcmPutDots(0x00,0xff);
	   // Delay(600);
	    HAL_Delay(100);
	   // LcmPutBMP(BMP3);
	    //HAL_Delay(10);

	   //  LcmReverseBMPP(BMP3);
	   //  HAL_Delay(100);
	     // Delay(1000);
	  //   LcmPutBMP(BMP4);
	    //  Delay(1000);
	     //   LcmReverseBMPP(BMP4);
	     // Delay(1000);
	     //   HAL_Delay(100);
	      //LcmClear();
	     // Display_Chinese();
	   //   HAL_Delay(10);
	    //  Display_character();
  }
  /* USER CODE END 3 */
}

void SystemClock_Config(void)
{
  RCC_OscInitTypeDef RCC_OscInitStruct = {0};
  RCC_ClkInitTypeDef RCC_ClkInitStruct = {0};

  /** Initializes the RCC Oscillators according to the specified parameters
  * in the RCC_OscInitTypeDef structure.
  */
  RCC_OscInitStruct.OscillatorType = RCC_OSCILLATORTYPE_HSI;
  RCC_OscInitStruct.HSIState = RCC_HSI_ON;
  RCC_OscInitStruct.HSIDiv = RCC_HSI_DIV4;
  RCC_OscInitStruct.HSICalibrationValue = RCC_HSICALIBRATION_DEFAULT;
  if (HAL_RCC_OscConfig(&RCC_OscInitStruct) != HAL_OK)
  {
    Error_Handler();
  }

  /** Initializes the CPU, AHB and APB buses clocks
  */
  RCC_ClkInitStruct.ClockType = RCC_CLOCKTYPE_HCLK|RCC_CLOCKTYPE_SYSCLK
                              |RCC_CLOCKTYPE_PCLK1;
  RCC_ClkInitStruct.SYSCLKSource = RCC_SYSCLKSOURCE_HSI;
  RCC_ClkInitStruct.SYSCLKDivider = RCC_SYSCLK_DIV1;
  RCC_ClkInitStruct.AHBCLKDivider = RCC_HCLK_DIV1;
  RCC_ClkInitStruct.APB1CLKDivider = RCC_APB1_DIV1;

  if (HAL_RCC_ClockConfig(&RCC_ClkInitStruct, FLASH_LATENCY_0) != HAL_OK)
  {
    Error_Handler();
  }
}

static void MX_USART1_UART_Init(void)
{

  huart1.Instance = USART1;
  huart1.Init.BaudRate = 115200;
  huart1.Init.WordLength = UART_WORDLENGTH_8B;
  huart1.Init.StopBits = UART_STOPBITS_1;
  huart1.Init.Parity = UART_PARITY_NONE;
  huart1.Init.Mode = UART_MODE_TX_RX;
  huart1.Init.HwFlowCtl = UART_HWCONTROL_NONE;
  huart1.Init.OverSampling = UART_OVERSAMPLING_16;
  huart1.Init.OneBitSampling = UART_ONE_BIT_SAMPLE_DISABLE;
  huart1.Init.ClockPrescaler = UART_PRESCALER_DIV1;
  huart1.AdvancedInit.AdvFeatureInit = UART_ADVFEATURE_NO_INIT;
  if (HAL_UART_Init(&huart1) != HAL_OK)
  {
    Error_Handler();
  }
  if (HAL_UARTEx_SetTxFifoThreshold(&huart1, UART_TXFIFO_THRESHOLD_1_8) != HAL_OK)
  {
    Error_Handler();
  }
  if (HAL_UARTEx_SetRxFifoThreshold(&huart1, UART_RXFIFO_THRESHOLD_1_8) != HAL_OK)
  {
    Error_Handler();
  }
  if (HAL_UARTEx_DisableFifoMode(&huart1) != HAL_OK)
  {
    Error_Handler();
  }

}

static void MX_USART2_UART_Init(void)
{

  huart2.Instance = USART2;
  huart2.Init.BaudRate = 115200;
  huart2.Init.WordLength = UART_WORDLENGTH_8B;
  huart2.Init.StopBits = UART_STOPBITS_1;
  huart2.Init.Parity = UART_PARITY_NONE;
  huart2.Init.Mode = UART_MODE_TX_RX;
  huart2.Init.HwFlowCtl = UART_HWCONTROL_NONE;
  huart2.Init.OverSampling = UART_OVERSAMPLING_16;
  huart2.Init.OneBitSampling = UART_ONE_BIT_SAMPLE_DISABLE;
  huart2.Init.ClockPrescaler = UART_PRESCALER_DIV1;
  huart2.AdvancedInit.AdvFeatureInit = UART_ADVFEATURE_NO_INIT;
  if (HAL_UART_Init(&huart2) != HAL_OK)
  {
    Error_Handler();
  }

}

static void MX_GPIO_Init(void)
{
  GPIO_InitTypeDef GPIO_InitStruct = {0};

  /* GPIO Ports Clock Enable */
  __HAL_RCC_GPIOB_CLK_ENABLE();
  __HAL_RCC_GPIOC_CLK_ENABLE();
  __HAL_RCC_GPIOA_CLK_ENABLE();

  /*Configure GPIO pin Output Level */
  HAL_GPIO_WritePin(GPIOB, LED_K_Pin|DISP_EN_Pin|LCD_CS2_Pin, GPIO_PIN_RESET);

  /*Configure GPIO pin Output Level */
  HAL_GPIO_WritePin(GPIOC, LCD_E_Pin|LCD_RS_Pin|LCD_CS1_Pin, GPIO_PIN_RESET);

  /*Configure GPIO pin Output Level */
  HAL_GPIO_WritePin(GPIOA, LCD_RW_Pin|LCD_RESET_Pin|DB0_Pin|DB1_Pin
                          |DB2_Pin|DB3_Pin|DB4_Pin|DB5_Pin
                          |DB6_Pin|DB7_Pin, GPIO_PIN_RESET);

  /*Configure GPIO pins : LED_K_Pin DISP_EN_Pin LCD_CS2_Pin */
  GPIO_InitStruct.Pin = LED_K_Pin|DISP_EN_Pin|LCD_CS2_Pin;
  GPIO_InitStruct.Mode = GPIO_MODE_OUTPUT_PP;
  GPIO_InitStruct.Pull = GPIO_NOPULL;
  GPIO_InitStruct.Speed = GPIO_SPEED_FREQ_LOW;
  HAL_GPIO_Init(GPIOB, &GPIO_InitStruct);

  /*Configure GPIO pins : LCD_E_Pin LCD_RS_Pin LCD_CS1_Pin */
  GPIO_InitStruct.Pin = LCD_E_Pin|LCD_RS_Pin|LCD_CS1_Pin;
  GPIO_InitStruct.Mode = GPIO_MODE_OUTPUT_PP;
  GPIO_InitStruct.Pull = GPIO_NOPULL;
  GPIO_InitStruct.Speed = GPIO_SPEED_FREQ_LOW;
  HAL_GPIO_Init(GPIOC, &GPIO_InitStruct);

  /*Configure GPIO pins : LCD_RW_Pin LCD_RESET_Pin DB0_Pin DB1_Pin
                           DB2_Pin DB3_Pin DB4_Pin DB5_Pin
                           DB6_Pin DB7_Pin */
  GPIO_InitStruct.Pin = LCD_RW_Pin|LCD_RESET_Pin|DB0_Pin|DB1_Pin
                          |DB2_Pin|DB3_Pin|DB4_Pin|DB5_Pin
                          |DB6_Pin|DB7_Pin;
  GPIO_InitStruct.Mode = GPIO_MODE_OUTPUT_PP;
  GPIO_InitStruct.Pull = GPIO_NOPULL;
  GPIO_InitStruct.Speed = GPIO_SPEED_FREQ_LOW;
  HAL_GPIO_Init(GPIOA, &GPIO_InitStruct);

  /*Configure GPIO pin : DISP_INTO_Pin */
  GPIO_InitStruct.Pin = DISP_INTO_Pin;
  GPIO_InitStruct.Mode = GPIO_MODE_IT_RISING;
  GPIO_InitStruct.Pull = GPIO_NOPULL;
  HAL_GPIO_Init(DISP_INTO_GPIO_Port, &GPIO_InitStruct);

  /*Configure GPIO pins : SW4_Pin SW3_Pin SW2_Pin SW1_Pin */
  GPIO_InitStruct.Pin = SW4_Pin|SW3_Pin|SW2_Pin|SW1_Pin;
  GPIO_InitStruct.Mode = GPIO_MODE_INPUT;
  GPIO_InitStruct.Pull = GPIO_NOPULL;
  HAL_GPIO_Init(GPIOB, &GPIO_InitStruct);

}

void Error_Handler(void)
{
  __disable_irq();
  while (1)
  {
  }
}
